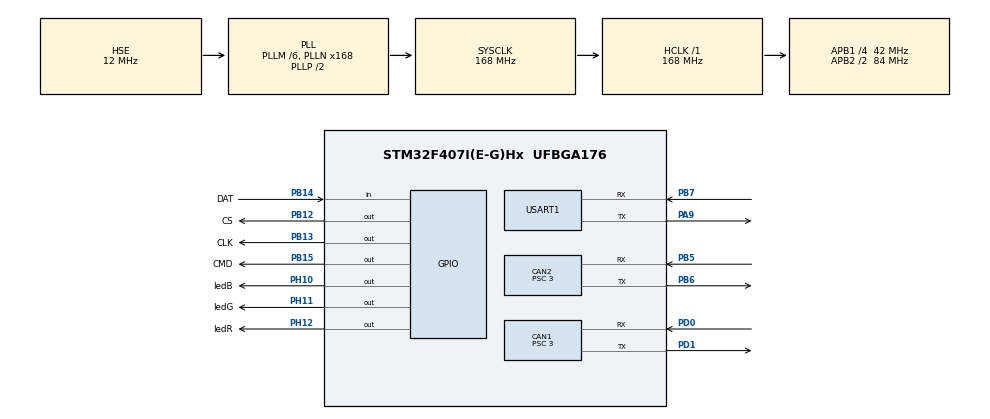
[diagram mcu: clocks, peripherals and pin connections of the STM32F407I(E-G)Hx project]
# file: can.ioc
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CAN1.BS1=CAN_BS1_10TQ
CAN1.BS2=CAN_BS2_3TQ
CAN1.CalculateTimeQuantum=71.42857142857143
CAN1.Prescaler=3
CAN2.BS1=CAN_BS1_10TQ
CAN2.BS2=CAN_BS2_3TQ
CAN2.CalculateTimeQuantum=71.42857142857143
CAN2.Prescaler=3
Dma.Request0=USART1_RX
Dma.Request1=USART1_TX
Dma.USART1_RX.0.Direction=DMA_PERIPH_TO_MEMORY
Dma.USART1_RX.0.FIFOMode=DMA_FIFOMODE_DISABLE
Dma.USART1_RX.0.Instance=DMA2_Stream2
Dma.USART1_RX.0.MemDataAlignment=DMA_MDATAALIGN_BYTE
Dma.USART1_RX.0.MemInc=DMA_MINC_ENABLE
Dma.USART1_RX.0.Mode=DMA_NORMAL
Dma.USART1_RX.0.PeriphDataAlignment=DMA_PDATAALIGN_BYTE
Dma.USART1_RX.0.PeriphInc=DMA_PINC_DISABLE
Dma.USART1_RX.0.Priority=DMA_PRIORITY_HIGH
Dma.USART1_TX.1.Direction=DMA_MEMORY_TO_PERIPH
Dma.USART1_TX.1.FIFOMode=DMA_FIFOMODE_DISABLE
Dma.USART1_TX.1.Instance=DMA2_Stream7
Dma.USART1_TX.1.MemDataAlignment=DMA_MDATAALIGN_BYTE
Dma.USART1_TX.1.MemInc=DMA_MINC_ENABLE
Dma.USART1_TX.1.Mode=DMA_NORMAL
Dma.USART1_TX.1.PeriphDataAlignment=DMA_PDATAALIGN_BYTE
Dma.USART1_TX.1.PeriphInc=DMA_PINC_DISABLE
Dma.USART1_TX.1.Priority=DMA_PRIORITY_HIGH
Mcu.Family=STM32F4
Mcu.Name=STM32F407I(E-G)Hx
Mcu.Package=UFBGA176
NVIC.CAN1_RX0_IRQn=true\:0\:0\:false\:false\:true\:true\:true\:true
NVIC.CAN2_RX0_IRQn=true\:0\:0\:false\:false\:true\:true\:true\:true
NVIC.DMA2_Stream2_IRQn=true\:0\:0\:false\:false\:true\:false\:true\:true
NVIC.DMA2_Stream7_IRQn=true\:0\:0\:false\:false\:true\:false\:true\:true
NVIC.PriorityGroup=NVIC_PRIORITYGROUP_4
NVIC.TIM2_IRQn=true\:0\:0\:true\:false\:true\:true\:true\:true
NVIC.USART1_IRQn=true\:0\:0\:true\:false\:true\:true\:true\:true
PA13.Mode=Serial_Wire
PA13.Signal=SYS_JTMS-SWDIO
PA14.Mode=Serial_Wire
PA14.Signal=SYS_JTCK-SWCLK
PA9.Mode=Asynchronous
PA9.Signal=USART1_TX
PB12.GPIO_Label=CS
PB12.Signal=GPIO_Output
PB13.GPIO_Label=CLK
PB13.Signal=GPIO_Output
PB14.GPIO_Label=DAT
PB14.GPIO_PuPd=GPIO_PULLDOWN
PB14.Signal=GPIO_Input
PB15.GPIO_Label=CMD
PB15.Signal=GPIO_Output
PB5.Mode=Slave
PB5.Signal=CAN2_RX
PB6.Mode=Slave
PB6.Signal=CAN2_TX
PB7.Mode=Asynchronous
PB7.Signal=USART1_RX
PD0.Mode=Master
PD0.Signal=CAN1_RX
PD1.Mode=Master
PD1.Signal=CAN1_TX
PH0-OSC_IN.Mode=HSE-External-Oscillator
PH0-OSC_IN.Signal=RCC_OSC_IN
PH1-OSC_OUT.Mode=HSE-External-Oscillator
PH1-OSC_OUT.Signal=RCC_OSC_OUT
PH10.GPIO_Label=ledB
PH10.Signal=GPIO_Output
PH11.GPIO_Label=ledG
PH11.Signal=GPIO_Output
PH12.GPIO_Label=ledR
PH12.Signal=GPIO_Output
ProjectManager.HeapSize=0x200
ProjectManager.StackSize=0x400
ProjectManager.TargetToolchain=MDK-ARM V5
RCC.48MHZClocksFreq_Value=84000000
RCC.AHBFreq_Value=168000000
RCC.APB1CLKDivider=RCC_HCLK_DIV4
RCC.APB1Freq_Value=42000000
RCC.APB1TimFreq_Value=84000000
RCC.APB2CLKDivider=RCC_HCLK_DIV2
RCC.APB2Freq_Value=84000000
RCC.APB2TimFreq_Value=168000000
RCC.CortexFreq_Value=168000000
RCC.HCLKFreq_Value=168000000
RCC.HSE_VALUE=12000000
RCC.HSI_VALUE=16000000
RCC.LSE_VALUE=32768
RCC.PLLM=6
RCC.PLLN=168
RCC.PLLSourceVirtual=RCC_PLLSOURCE_HSE
RCC.SYSCLKFreq_VALUE=168000000
RCC.SYSCLKSource=RCC_SYSCLKSOURCE_PLLCLK
RCC.VCOOutputFreq_Value=336000000
TIM2.AutoReloadPreload=TIM_AUTORELOAD_PRELOAD_ENABLE
TIM2.Period=25
TIM2.Prescaler=16799
USART1.VirtualMode=VM_ASYNC
VP_TIM2_VS_ClockSourceINT.Mode=Internal
board=custom

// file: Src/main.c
/* USER CODE BEGIN Header */
/**
******************************************************************************
* @file           : main.c
* @brief          : Main program body
******************************************************************************
* @attention
*
* <h2><center>&copy; Copyright (c) 2019 STMicroelectronics.
* All rights reserved.</center></h2>
*
* This software component is licensed by ST under BSD 3-Clause license,
* the "License"; You may not use this file except in compliance with the
* License. You may obtain a copy of the License at:
*                        opensource.org/licenses/BSD-3-Clause
*
******************************************************************************
*/
/* USER CODE END Header */

#include "main.h"
#include "can.h"
#include "dma.h"
#include "tim.h"
#include "usart.h"
#include "gpio.h"

/* USER CODE BEGIN Includes */
#include "bsp_can.h"
#include "CAN_receive.h"
#include "ps2.h"
#include "pid.h"
#include "usart.h"
#include "mecanum_control.h"
#include <math.h>
#include <string.h>
#include <stdio.h>

/* USER CODE END Includes */

/* USER CODE BEGIN PD */
#define WHEEL_FR 0  // 右前�?
#define WHEEL_FL 1  // 左前�?
#define WHEEL_BL 2  // 左后�?
#define WHEEL_BR 3  // 右后�?
/* USER CODE END PD */

/* USER CODE BEGIN PV */
PID_TypeDef motor_pid[4];
char tx_buffer[1000];
extern TIM_HandleTypeDef htim2;
extern UART_HandleTypeDef huart1;  // 确保你已经在别处定义了这个句�?
extern volatile uint8_t uart_tx_done;
extern void UART1_Send_DMA(uint8_t *buf, uint16_t len);

/* USER CODE END PV */

void SystemClock_Config(void);
/* USER CODE BEGIN PFP */
void UART1_Send_DMA(uint8_t *buf, uint16_t len);
void UART1_Send_IT(uint8_t *buf, uint16_t len);
/* USER CODE END PFP */

/* USER CODE BEGIN 0 */
  //uint8_t move_mode = 0; // 移动模式标志
  uint8_t pid_flag = 0; // PID标志
  static uint8_t test_state = 0;  // 0=前进, 1=后退
static float start_distance = 0.0f;

/* USER CODE END 0 */

int main(void)
{

  /* MCU Configuration--------------------------------------------------------*/

  /* Reset of all peripherals, Initializes the Flash interface and the Systick. */
  HAL_Init();

  /* USER CODE BEGIN Init */

//float wheel_speed_FR;
//float wheel_speed_FL;
//float wheel_speed_BL;
//float wheel_speed_BR;
  /* USER CODE END Init */

  /* Configure the system clock */
  SystemClock_Config();

  /* Initialize all configured peripherals */
  MX_GPIO_Init();
  MX_DMA_Init();
  MX_CAN1_Init();
  MX_CAN2_Init();
  MX_USART1_UART_Init();
  MX_TIM2_Init();
  /* USER CODE BEGIN 2 */
HAL_TIM_Base_Start_IT(&htim2);
can_filter_init();

  // 修改 PID 初始化代码
  for (int i = 0; i < 4; i++) {
    pid_init(&motor_pid[i]);
    motor_pid[i].f_param_init(&motor_pid[i], PID_Speed, 2000, 300, 10, 10, 2000, 500, 1.5, 0.05, 0.02);
        // PID模式（位置或速度）、最大输出、积分限幅、死区（绝对值）、控制周期、最大误差、目标值、kp、ki、kd）
        //开始版本kp=2.5，ki=0.1
        //初步调试kp=3.7，ki=0.1，kd=0.05
        //降低参数防止超调：kp=1.5，ki=0.05，kd=0.02，最大输出=2000，积分限幅=300
    motor_pid[i].target = mecanum.wheel_speed[i];
  }

  // 初始化麦克纳姆轮控制
  mecanum_init(&mecanum);
  uint32_t last_switch_time = HAL_GetTick();

  /* USER CODE END 2 */

  /* Infinite loop */
  /* USER CODE BEGIN WHILE */
  while (1)
  {
    /*
    static uint32_t last_time = 0;
    static uint8_t demo_state = 0;
    uint32_t current_time = HAL_GetTick();
    */

     if (pid_flag)
      {
        pid_flag = 0;  //清除标志位

        // 在主循环中进行PID计算
        for (int i = 0; i < 4; i++)
        {
            const motor_measure_t *motor_data = get_chassis_motor_measure_point(i);
            if (motor_data != NULL) {
                motor_pid[i].f_cal_pid(&motor_pid[i], motor_data->speed_rpm);
            }
        }
    }
    float distance = mecanum.current_pos.distance;
     float moved_distance = distance - start_distance;

     if (test_state == 0) {  // 前进状态
        if (moved_distance < 1.0f) {
            mecanum_move_forward(&mecanum, 800.0f);
        } else {
            // 前进1米后，准备后退
            test_state = 1;
            start_distance = distance;  // 重新记录起点
        }
    } else {  // 后退状态
        if (fabsf(moved_distance) < 1.0f) {  // 用绝对值
            mecanum_move_backward(&mecanum, 800.0f);
        } else {
            // 后退1米后，准备前进
            test_state = 0;
            start_distance = distance;  // 重新记录起点
        }
    }

     /*
    if(distance < 1.0f)
    {
        mecanum_move_backward(&mecanum, 800.0f);
    }
*/
    /*
 uint32_t now = HAL_GetTick();
    if (now - last_switch_time >= 5000)
    {
        move_mode = (move_mode + 1) % 6; // 0~5循环
        last_switch_time = now;
    }

     switch (move_mode)
    {
      case 0:
            mecanum_move_forward(&mecanum, 800.0f); // 前进
            break;
        case 1:
            mecanum_move_backward(&mecanum, 800.0f); // 后退
            break;
        case 2:
            mecanum_move_left(&mecanum, 800.0f); // 左移
            break;
        case 3:
            mecanum_move_right(&mecanum, 800.0f); // 右移
            break;
        case 4:
            mecanum_rotate_left(&mecanum, 600.0f); // 左转
            break;
        case 5:
            mecanum_rotate_right(&mecanum, 600.0f); // 右转
            break;
    }
		*/

    // 发送电机控制指令（从定时器中断移回主循环）

    // 更新PID控制
    /*
    for (int i = 0; i < 4; i++)
    {
        motor_pid[i].target = mecanum.wheel_speed[i];
        const motor_measure_t *motor_data = get_chassis_motor_measure_point(i);
        if (motor_data) {
            motor_pid[i].f_cal_pid(&motor_pid[i], motor_data->speed_rpm);
        }
    }
    // 发送电机控制指令
    CAN_cmd_chassis(motor_pid[0].output, motor_pid[1].output, motor_pid[2].output, motor_pid[3].output);
    HAL_Delay(10);
    */
    /*
    // VOFA绘图数据发送（只在VOFA模式下发送）
    // 发送8个通道：4个实际速度值 + 4个设定速度值
    float vofa_data[8];
    for (int i = 0; i < 4; i++) {
        vofa_data[i] = (float)get_chassis_motor_measure_point(i)->speed_rpm;     // 实际速度
        vofa_data[i + 4] = (float)motor_pid[i].target;                          // 设定速度
    }
    // 发送浮点数组
    HAL_UART_Transmit(&huart1, (uint8_t*)vofa_data, sizeof(vofa_data), 100);
    // 发送帧尾
    unsigned char tail[4] = {0x00, 0x00, 0x80, 0x7f};
    HAL_UART_Transmit(&huart1, tail, 4, 100);
    HAL_Delay(10); // 延迟10毫秒
    */
    /* USER CODE END WHILE */

  }
}

void SystemClock_Config(void)
{
  RCC_OscInitTypeDef RCC_OscInitStruct = {0};
  RCC_ClkInitTypeDef RCC_ClkInitStruct = {0};

  /** Configure the main internal regulator output voltage
  */
  __HAL_RCC_PWR_CLK_ENABLE();
  __HAL_PWR_VOLTAGESCALING_CONFIG(PWR_REGULATOR_VOLTAGE_SCALE1);
  /** Initializes the CPU, AHB and APB busses clocks
  */
  RCC_OscInitStruct.OscillatorType = RCC_OSCILLATORTYPE_HSE;
  RCC_OscInitStruct.HSEState = RCC_HSE_ON;
  RCC_OscInitStruct.PLL.PLLState = RCC_PLL_ON;
  RCC_OscInitStruct.PLL.PLLSource = RCC_PLLSOURCE_HSE;
  RCC_OscInitStruct.PLL.PLLM = 6;
  RCC_OscInitStruct.PLL.PLLN = 168;
  RCC_OscInitStruct.PLL.PLLP = RCC_PLLP_DIV2;
  RCC_OscInitStruct.PLL.PLLQ = 4;
  if (HAL_RCC_OscConfig(&RCC_OscInitStruct) != HAL_OK)
  {
    Error_Handler();
  }
  /** Initializes the CPU, AHB and APB busses clocks
  */
  RCC_ClkInitStruct.ClockType = RCC_CLOCKTYPE_HCLK|RCC_CLOCKTYPE_SYSCLK
                              |RCC_CLOCKTYPE_PCLK1|RCC_CLOCKTYPE_PCLK2;
  RCC_ClkInitStruct.SYSCLKSource = RCC_SYSCLKSOURCE_PLLCLK;
  RCC_ClkInitStruct.AHBCLKDivider = RCC_SYSCLK_DIV1;
  RCC_ClkInitStruct.APB1CLKDivider = RCC_HCLK_DIV4;
  RCC_ClkInitStruct.APB2CLKDivider = RCC_HCLK_DIV2;

  if (HAL_RCC_ClockConfig(&RCC_ClkInitStruct, FLASH_LATENCY_5) != HAL_OK)
  {
    Error_Handler();
  }
}

/* USER CODE BEGIN 4 */

static uint32_t timer_count = 0;

void HAL_TIM_PeriodElapsedCallback(TIM_HandleTypeDef *htim)
{
    if (htim == &htim2)
    {
       timer_count++; // 计数器，用于调试观察
       pid_flag = 1; // 设置PID计算标志
    for (int i = 0; i < 4; i++)
    {
        motor_pid[i].target = mecanum.wheel_speed[i];
        const motor_measure_t *motor_data = get_chassis_motor_measure_point(i);

            //motor_pid[i].f_cal_pid(&motor_pid[i], motor_data->speed_rpm); //这句有问题，不能放中断回调里

    }
    CAN_cmd_chassis(motor_pid[0].output, motor_pid[1].output, motor_pid[2].output, motor_pid[3].output);
    // 不在中断里发送CAN指令，移到主循环
    }

}

// 定时器中断回调，定时发�?�VOFA数据（float格式，VOFA可直接画图）
//void HAL_TIM_PeriodElapsedCallback(TIM_HandleTypeDef *htim)
//{
//    if (htim == &htim2)
//    {
//        float vofa_data[4];
//        for (int i = 0; i < 4; i++) {
//            vofa_data[i] = (float)get_chassis_motor_measure_point(i)->speed_rpm;
//        }
//        // 发�??4个float数据到VOFA+
//        HAL_UART_Transmit(&huart1, (uint8_t*)vofa_data, sizeof(vofa_data), 100);
//    }
//}
//void HAL_TIM_PeriodElapsedCallback(TIM_HandleTypeDef *htim)
//{

//if (htim == (&htim2))
//{
//			for(int i=0; i<4; i++)
//{
//  motor_pid[i].target = 1000;
//		const motor_measure_t *motor_data = get_chassis_motor_measure_point(i);
//			motor_pid[i].f_cal_pid(&motor_pid[i],motor_data->speed_rpm);    //根据设定值进行PID计算�?
//}
//CAN_cmd_chassis(motor_pid[0].output,motor_pid[1].output,motor_pid[2].output,motor_pid[3].output);
//}
//}

// ? DMA 发�?�完成回�?
//void USART1_IRQHandler(void)
//{
//    /* TXE 空中�? */
//    if (__HAL_UART_GET_FLAG(&huart1, UART_FLAG_TXE))
//    {
//        if (tx_buf_len > 0)
//        {
//            USART1->DR = *tx_buf_ptr++;   // 发�?�一个字�?
//            tx_buf_len--;
//        }
//        else
//        {
//            /* 发完了，关闭 TXE 中断，防止一直进中断 */
//            __HAL_UART_DISABLE_IT(&huart1, UART_IT_TXE);
//            tx_busy = 0;
//        }
//    }

//    /* 如有 RX 中断，可在此处理 */
//}

// 定时器中断回调，定时发�?�VOFA数据
/*void HAL_TIM_PeriodElapsedCallback(TIM_HandleTypeDef *htim)
{
    if (htim == &htim2)
    {
       char buf[100];
    for (int i = 0; i < 4; i++) {
        int len = snprintf(buf, sizeof(buf), "M%d:%d\r\n", i, get_chassis_motor_measure_point(i)->speed_rpm);
        HAL_UART_Transmit(&huart1, (uint8_t *)buf, len, 100);
   }
    HAL_Delay(500);

    }
}*/
/* USER CODE END 4 */

void Error_Handler(void)
{
}

/************************ (C) COPYRIGHT STMicroelectronics *****END OF FILE****/
